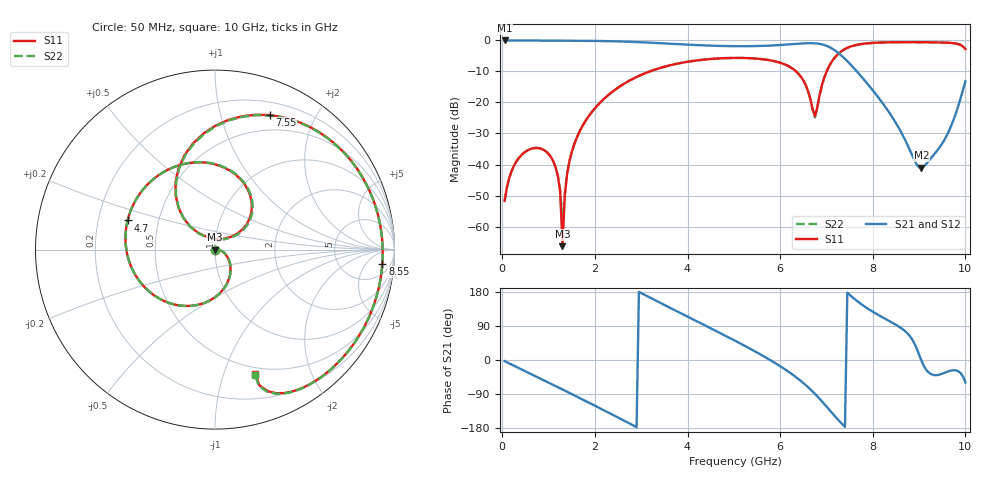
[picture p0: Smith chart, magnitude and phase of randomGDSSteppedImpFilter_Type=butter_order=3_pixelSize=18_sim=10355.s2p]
! freq	dB(S11)	phase(S11)	dB(S12)	phase(S12)
!  dB(S21)	phase(S21)	dB(S22)	phase(S22)
!S-par simulation data
#  GHz  S  DB  R 50
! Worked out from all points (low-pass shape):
!   200 points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, 50 MHz to 10 GHz, reference 50 ohm
!   highest |S21| = -0.02 dB at 50 MHz (marker M1); lowest = -41.0 dB at 9.05 GHz (marker M2)
!   |S21| within 3 dB of the highest: start of sweep to 7.162 GHz
!   lowest |S11| = -66.3 dB at 1.3 GHz (marker M3), VSWR 1.00, Z = 50 + j0.0202 ohm
!   |S11| at or under -10 dB: start of sweep to 3.184 GHz; 6.345 GHz to 7.004 GHz (659.4 MHz wide, 9.88 % of centre)
!   |S22| runs from -58.5 to -0.6 dB; largest |S21 - S12| = 0
!   S11 on the Smith chart (normalised r, x): 50 MHz: 1.00, -0.00; 4.7 GHz: 0.33, +0.15; 7.55 GHz: 0.33, +1.43; 8.55 GHz: 11, -15; 10 GHz: 0.44, -1.28
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0.05  -51.72 -53.9  -0.02 -3.0  -0.02 -3.0  -51.68 -54.7
0.4  -37.16 -109.6  -0.04 -23.9  -0.04 -23.9  -37.16 -110.0
0.95  -35.85 -146.9  -0.07 -56.7  -0.07 -56.7  -35.85 -148.6
1.2  -43.71 -163.7  -0.09 -71.7  -0.09 -71.7  -43.63 -170.2
1.25  -48.77 -168.4  -0.09 -74.8  -0.09 -74.8  -48.48 179.6
1.3  -66.31 155.3  -0.09 -77.8  -0.09 -77.8  -58.51 120.1
1.4  -43.01 7.7  -0.10 -83.8  -0.10 -83.8  -42.90 15.4
1.75  -27.11 -15.5  -0.13 -105.2  -0.13 -105.2  -27.11 -13.8
2.6  -14.24 -68.8  -0.37 -158.2  -0.37 -158.2  -14.24 -68.3
3.4  -8.92 -118.9  -0.89 151.5  -0.89 151.5  -8.92 -118.7
4.7  -5.79 161.5  -1.78 71.3  -1.78 71.3  -5.79 161.2
5.05  -5.64 139.8  -1.87 49.4  -1.87 49.4  -5.64 139.3
6  -7.19 75.7  -1.49 -16.3  -1.49 -16.3  -7.19 74.8
6.45  -11.74 41.9  -1.01 -55.6  -1.01 -55.6  -11.75 40.6
6.7  -22.08 50.8  -0.90 -83.0  -0.90 -83.0  -22.30 48.4
7.1  -7.20 120.2  -2.45 -136.8  -2.45 -136.8  -7.21 119.8
7.55  -1.84 67.9  -8.24 166.7  -8.24 166.7  -1.84 67.2
8.35  -0.61 6.5  -23.12 103.2  -23.12 103.2  -0.61 5.9
8.55  -0.58 -4.9  -27.89 89.2  -27.89 89.2  -0.58 -5.5
9.05  -0.58 -29.9  -41.03 -1.4  -41.03 -1.4  -0.58 -30.4
9.6  -0.74 -54.5  -30.59 -31.3  -30.59 -31.3  -0.74 -54.9
10  -2.79 -72.1  -13.17 -59.1  -13.17 -59.1  -2.73 -72.3
